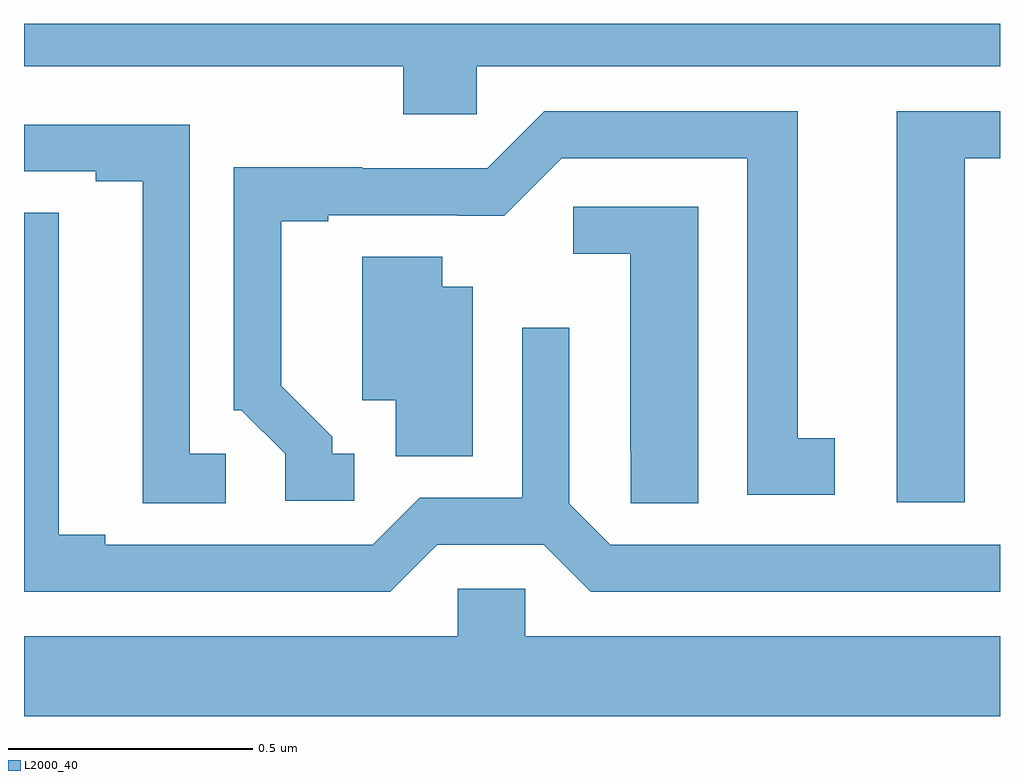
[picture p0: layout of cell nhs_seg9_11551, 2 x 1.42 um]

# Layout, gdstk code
import gdstk
lib = gdstk.Library(unit=1e-6, precision=1e-09)
def P(c, l, *ps):  # polygons
    for p in ps: c.add(gdstk.Polygon(p, *l))
L2000_40 = (2000, 40)

nhs_seg9_11551 = lib.new_cell('nhs_seg9_11551')
P(nhs_seg9_11551, L2000_40, [(257.928,1204.412),(259,1204.412),(259,1204.5),(257,1204.5),(257,1204.412),(257.777,1204.412),(257.777,1204.314),(257.928,1204.314)],
  [(257.677,1203.618),(257.632,1203.618),(257.632,1203.653),(257.527,1203.758),(257.527,1204.095),(257.623,1204.095),(257.623,1204.107),(257.888,1204.107),(257.888,1204.106),(257.984,1204.106),(258.102,1204.224),(258.482,1204.224),(258.482,1203.534),(258.661,1203.534),(258.661,1203.65),(258.586,1203.65),(258.586,1204.32),(258.066,1204.32),(257.949,1204.203),(257.693,1204.203),(257.693,1204.205),(257.43,1204.205),(257.43,1203.708),(257.445,1203.708),(257.535,1203.618),(257.535,1203.522),(257.677,1203.522)],
  [(258.928,1204.224),(259,1204.224),(259,1204.32),(258.788,1204.32),(258.788,1203.519),(258.928,1203.519)],
  [(257.413,1203.618),(257.34,1203.618),(257.34,1204.293),(257,1204.293),(257,1204.197),(257.147,1204.197),(257.147,1204.177),(257.243,1204.177),(257.243,1203.517),(257.413,1203.517)],
  [(258.382,1204.125),(258.126,1204.125),(258.126,1204.028),(258.242,1204.028),(258.242,1203.625),(258.243,1203.625),(258.243,1203.517),(258.382,1203.517)],
  [(257.847,1203.432),(258.065,1203.432),(258.161,1203.336),(259,1203.336),(259,1203.432),(258.201,1203.432),(258.117,1203.516),(258.117,1203.877),(258.021,1203.877),(258.021,1203.528),(257.811,1203.528),(257.715,1203.432),(257.167,1203.432),(257.167,1203.452),(257.071,1203.452),(257.071,1204.112),(257,1204.112),(257,1203.336),(257.751,1203.336)],
  [(257.92,1203.961),(257.857,1203.961),(257.857,1204.022),(257.693,1204.022),(257.693,1203.728),(257.762,1203.728),(257.762,1203.613),(257.92,1203.613)],
  [(259,1203.244),(258.027,1203.244),(258.027,1203.342),(257.889,1203.342),(257.889,1203.244),(257,1203.244),(257,1203.08),(259,1203.08)])

lib.write_gds('nhs_seg9_11551.gds')
